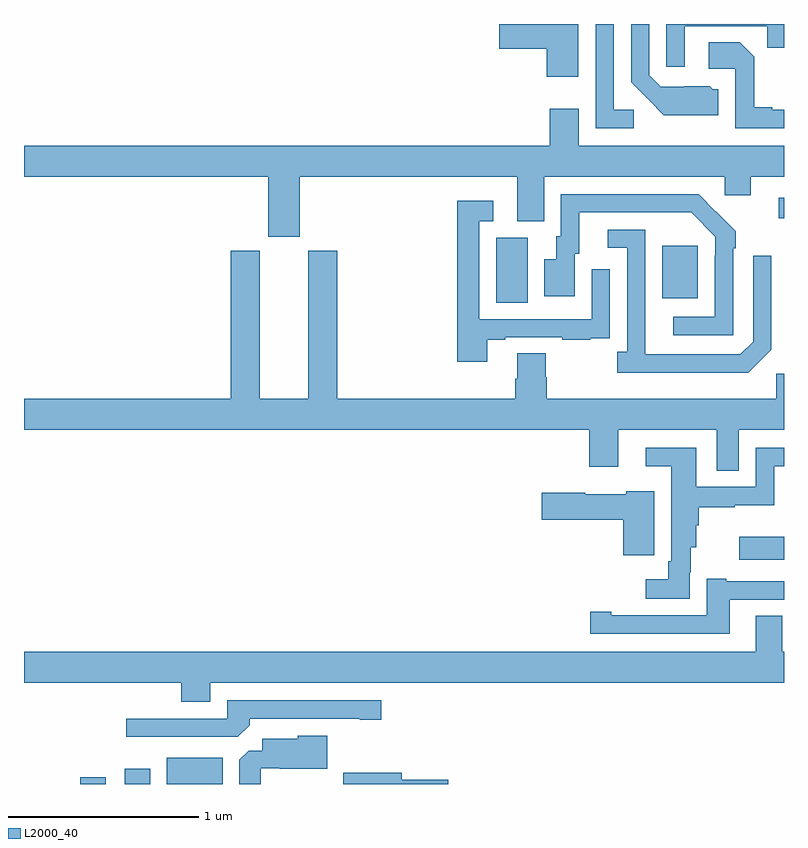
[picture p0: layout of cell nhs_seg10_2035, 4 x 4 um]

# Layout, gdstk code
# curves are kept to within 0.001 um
import gdstk
lib = gdstk.Library(unit=1e-6, precision=1e-09)
def R(c, l, rs):  # rectangles x0, y0, x1, y1
    for r in rs: c.add(gdstk.rectangle(r[:2], r[2:], *l))
def P(c, l, *ps):  # polygons
    for p in ps: c.add(gdstk.Polygon(p, *l))
L2000_40 = (2000, 40)

nhs_seg10_2035 = lib.new_cell('nhs_seg10_2035')
R(nhs_seg10_2035, L2000_40, [(219.296,1250.5,219.43,1250.536), (219.53,1250.5,219.664,1250.581), (219.752,1250.5,220.045,1250.638), (222.765,1251.68,223,1251.802), (221.486,1253.032,221.65,1253.376), (222.359,1253.057,222.547,1253.332), (222.972,1253.478,223,1253.586)])
P(nhs_seg10_2035, L2000_40, [(222.208,1254.048),(222.105,1254.048),(222.105,1254.5),(222.009,1254.5),(222.009,1253.952),(222.208,1253.952)],
  [(222.655,1254.156),(222.624,1254.156),(222.608,1254.172),(222.351,1254.171),(222.291,1254.231),(222.291,1254.5),(222.195,1254.5),(222.195,1254.194),(222.367,1254.02),(222.655,1254.02)],
  [(221.917,1254.5),(221.502,1254.5),(221.502,1254.371),(221.75,1254.371),(221.75,1254.222),(221.917,1254.222)],
  [(222.477,1254.489),(222.913,1254.489),(222.913,1254.376),(223,1254.376),(223,1254.5),(222.381,1254.5),(222.381,1254.276),(222.477,1254.276)],
  [(223,1254.048),(222.937,1254.048),(222.937,1254.061),(222.843,1254.061),(222.843,1254.328),(222.767,1254.404),(222.603,1254.404),(222.603,1254.264),(222.744,1254.264),(222.744,1253.952),(223,1253.952)],
  [(220.45,1253.696),(221.597,1253.696),(221.597,1253.461),(221.737,1253.461),(221.737,1253.696),(222.687,1253.696),(222.687,1253.598),(222.826,1253.598),(222.826,1253.696),(223,1253.696),(223,1253.86),(221.92,1253.86),(221.92,1254.055),(221.768,1254.055),(221.768,1253.86),(219,1253.86),(219,1253.696),(220.286,1253.696),(220.286,1253.379),(220.45,1253.379)],
  [(222.732,1253.321),(222.747,1253.321),(222.747,1253.409),(222.55,1253.604),(221.826,1253.604),(221.826,1253.382),(221.801,1253.382),(221.801,1253.263),(221.738,1253.263),(221.738,1253.067),(221.899,1253.067),(221.899,1253.292),(221.923,1253.292),(221.923,1253.508),(222.511,1253.508),(222.639,1253.379),(222.639,1253.279),(222.636,1253.279),(222.636,1252.959),(222.417,1252.959),(222.417,1252.863),(222.732,1252.863)],
  [(221.437,1252.839),(221.533,1252.839),(221.533,1252.851),(221.833,1252.851),(221.833,1252.839),(221.981,1252.839),(221.981,1252.845),(222.083,1252.845),(222.083,1252.954),(222.084,1252.954),(222.084,1253.209),(221.988,1253.209),(221.988,1252.947),(221.397,1252.947),(221.397,1253.463),(221.47,1253.463),(221.47,1253.569),(221.281,1253.569),(221.281,1252.722),(221.437,1252.722)],
  [(222.933,1252.785),(222.933,1253.281),(222.837,1253.281),(222.837,1252.827),(222.771,1252.761),(222.271,1252.761),(222.27,1253.418),(222.072,1253.418),(222.072,1253.322),(222.174,1253.322),(222.174,1252.774),(222.123,1252.774),(222.123,1252.664),(222.812,1252.664)],
  [(222.763,1252.364),(223,1252.364),(223,1252.66),(222.96,1252.66),(222.96,1252.528),(221.75,1252.528),(221.75,1252.641),(221.745,1252.641),(221.745,1252.766),(221.597,1252.766),(221.597,1252.634),(221.585,1252.634),(221.585,1252.528),(220.649,1252.528),(220.649,1253.307),(220.496,1253.307),(220.496,1252.528),(220.24,1252.528),(220.24,1253.307),(220.088,1253.307),(220.088,1252.528),(219,1252.528),(219,1252.364),(221.975,1252.364),(221.975,1252.17),(222.127,1252.17),(222.127,1252.364),(222.647,1252.364),(222.647,1252.15),(222.763,1252.15)],
  [(222.504,1251.615),(222.509,1251.615),(222.509,1251.746),(222.538,1251.746),(222.538,1251.861),(222.551,1251.861),(222.551,1251.957),(222.74,1251.957),(222.74,1251.968),(222.948,1251.968),(222.948,1252.173),(223,1252.173),(223,1252.269),(222.852,1252.269),(222.852,1252.065),(222.538,1252.065),(222.538,1252.269),(222.273,1252.269),(222.273,1252.172),(222.407,1252.172),(222.407,1251.673),(222.39,1251.673),(222.39,1251.577),(222.273,1251.577),(222.273,1251.476),(222.504,1251.476)],
  [(222.316,1252.042),(222.171,1252.042),(222.171,1252.024),(221.954,1252.024),(221.954,1252.032),(221.724,1252.032),(221.724,1251.89),(222.155,1251.89),(222.155,1251.705),(222.316,1251.705)],
  [(222.715,1251.471),(223,1251.471),(223,1251.567),(222.697,1251.567),(222.697,1251.58),(222.593,1251.58),(222.593,1251.387),(222.091,1251.387),(222.091,1251.407),(221.979,1251.407),(221.979,1251.291),(222.715,1251.291)],
  [(219.979,1251.032),(223,1251.032),(223,1251.196),(222.991,1251.196),(222.991,1251.386),(222.851,1251.386),(222.851,1251.196),(219,1251.196),(219,1251.032),(219.827,1251.032),(219.827,1250.933),(219.979,1250.933)],
  [(220.187,1250.81),(220.187,1250.844),(220.766,1250.844),(220.766,1250.839),(220.879,1250.839),(220.879,1250.94),(220.071,1250.94),(220.071,1250.844),(219.537,1250.844),(219.537,1250.748),(220.125,1250.748)],
  [(220.245,1250.583),(220.345,1250.583),(220.345,1250.579),(220.597,1250.579),(220.597,1250.755),(220.44,1250.755),(220.44,1250.737),(220.253,1250.737),(220.253,1250.676),(220.182,1250.676),(220.133,1250.627),(220.133,1250.5),(220.245,1250.5)],
  [(221.233,1250.522),(220.987,1250.522),(220.987,1250.56),(220.68,1250.56),(220.68,1250.5),(221.233,1250.5)])

lib.write_gds('nhs_seg10_2035.gds')
